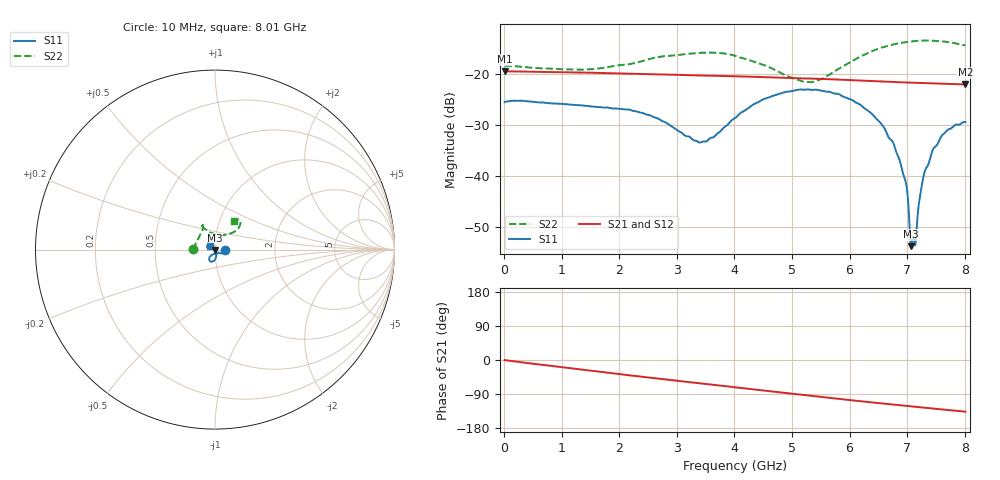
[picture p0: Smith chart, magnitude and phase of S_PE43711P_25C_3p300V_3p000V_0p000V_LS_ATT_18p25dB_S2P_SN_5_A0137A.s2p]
! Device ID: PE43711P
! File Path: z:\PE43711P\CHAR_NOM_04282014\AMB\3p300\LS_ATT_18p25dB\PE43711P_AMB_3p300V_3p000V_0p000V_LS_ATT_18p25dB_S2P_SN_5_A0137A.s2p
! Serial: 5
! Lot: A0137A
! Temp: 25C
! VDD: 3.300
! VSS: 0.000
! Control_Hi: 3.000
! Control_Lo: 0.000
! Attenuation Step: 18.25dB
! Port 1: RF1
! Port 2: RF2
! ThroughPath:1-2
! IDD: 0.0001271256
! ISS: -1.171e-007
#  Hz  S  RI  R  50
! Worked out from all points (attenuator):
!   801 points, 10 MHz to 8.01 GHz, reference 50 ohm
!   highest |S21| = -19.44 dB at 10 MHz (marker M1); lowest = -22.0 dB at 8.01 GHz (marker M2)
!   lowest |S11| = -53.7 dB at 7.07 GHz (marker M3), VSWR 1.00, Z = 49.9 - j0.182 ohm
!   |S11| at or under -10 dB: start of sweep to end of sweep
!   |S22| runs from -21.6 to -13.4 dB; largest |S21 - S12| = 0.00023
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1e7  0.0532 0.000184  0.1066 -0.000493  0.1068 -0.000525  -0.1214 0.000915
1.35e9  0.0457 -0.0188  0.0936 -0.0445  0.0937 -0.0445  -0.095 0.0565
2.17e9  0.0394 -0.0218  0.0772 -0.0654  0.0773 -0.0654  -0.0731 0.1014
2.68e9  0.0308 -0.0198  0.0651 -0.0751  0.0651 -0.0751  -0.0679 0.1306
3.41e9  0.00535 -0.0208  0.0459 -0.0853  0.046 -0.0853  -0.0699 0.1458
3.65e9  -0.00534 -0.0238  0.0396 -0.0878  0.0396 -0.0878  -0.0729 0.1449
4.01e9  -0.02 -0.0313  0.0294 -0.0906  0.0294 -0.0907  -0.0731 0.1325
4.67e9  -0.0325 -0.0521  0.0108 -0.0923  0.0107 -0.0923  -0.0416 0.1044
5.35e9  -0.0222 -0.0664  -0.00741 -0.09  -0.00742 -0.0901  0.0207 0.081
6.17e9  0.00286 -0.0508  -0.0274 -0.0822  -0.0275 -0.0822  0.1084 0.0998
6.54e9  0.00761 -0.0323  -0.0349 -0.0772  -0.035 -0.0773  0.1328 0.123
6.68e9  0.00651 -0.023  -0.0374 -0.0753  -0.0374 -0.0754  0.1374 0.1318
6.78e9  0.00626 -0.0186  -0.0392 -0.0739  -0.0392 -0.074  0.1402 0.1378
6.96e9  0.00237 -0.00914  -0.0423 -0.0714  -0.0422 -0.0714  0.1412 0.1476
6.99e9  0.00269 -0.00746  -0.0427 -0.0709  -0.0427 -0.071  0.1418 0.149
7.07e9  -0.000985 -0.00183  -0.0441 -0.0698  -0.0441 -0.0699  0.1409 0.1542
7.1e9  -0.00206 -0.00156  -0.0447 -0.0694  -0.0446 -0.0694  0.1405 0.1551
7.13e9  -0.00209 -0.00053  -0.0451 -0.0689  -0.0451 -0.069  0.1404 0.1565
7.27e9  -0.00618 0.00682  -0.0474 -0.0668  -0.0473 -0.0668  0.1372 0.1631
7.45e9  -0.0124 0.0137  -0.0501 -0.0639  -0.0501 -0.0639  0.1292 0.1682
7.69e9  -0.0201 0.0196  -0.0534 -0.06  -0.0534 -0.0599  0.1172 0.1702
8.01e9  -0.026 0.0218  -0.0573 -0.0547  -0.0575 -0.0546  0.1031 0.1602
